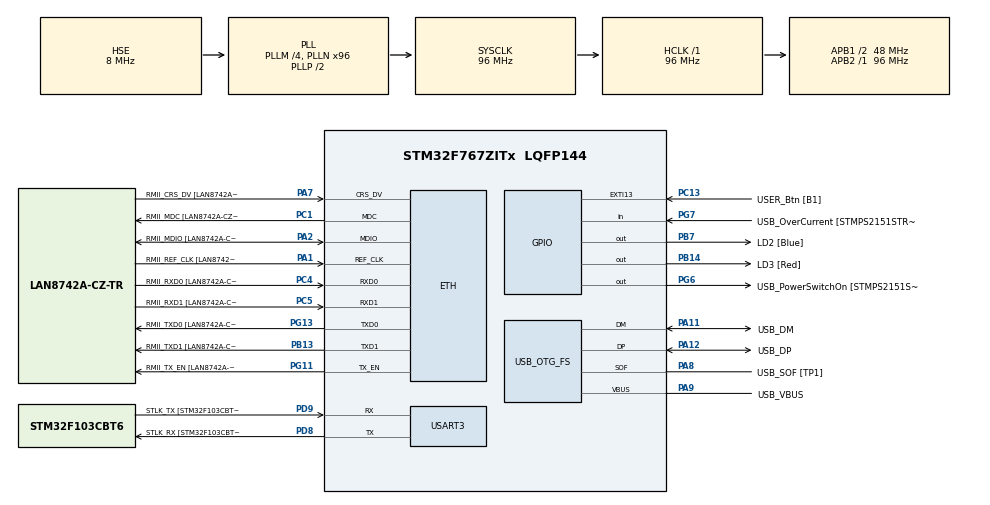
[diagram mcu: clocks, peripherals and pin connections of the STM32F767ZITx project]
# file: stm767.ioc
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ETH.MediaInterface=ETH_MEDIA_INTERFACE_RMII
ETH.PHY_Name=LAN8742A_PHY_ADDRESS
ETH.PHY_Value=0
ETH.PhyAddress=0
FREERTOS.Tasks01=defaultTask,0,128,StartDefaultTask,Default,NULL
FREERTOS.configTOTAL_HEAP_SIZE=30720
LWIP.GATEWAY_ADDRESS=192.168.160.001
LWIP.IP_ADDRESS=192.168.165.090
LWIP.LWIP_DHCP=1
LWIP.LWIP_DNS=1
LWIP.LWIP_NETIF_LINK_CALLBACK=0
LWIP.LWIP_NETIF_STATUS_CALLBACK=0
LWIP.LWIP_STATS=0
LWIP.LWIP_UDP=1
LWIP.NETMASK_ADDRESS=255.255.248.000
LWIP.Version=v2.0.3_Cube
Mcu.Family=STM32F7
Mcu.Name=STM32F767ZITx
Mcu.Package=LQFP144
NVIC.ETH_IRQn=true\:5\:0\:false\:false\:true\:true\:false\:true
NVIC.PriorityGroup=NVIC_PRIORITYGROUP_4
NVIC.TIM1_UP_TIM10_IRQn=true\:0\:0\:false\:false\:true\:false\:false\:true
NVIC.TimeBase=TIM1_UP_TIM10_IRQn
NVIC.TimeBaseIP=TIM1
PA1.GPIO_Label=RMII_REF_CLK [LAN8742A-CZ-TR_REFCLK0]
PA1.Mode=RMII
PA1.Signal=ETH_REF_CLK
PA10.GPIO_Label=USB_ID
PA10.Signal=USB_OTG_FS_ID
PA11.GPIO_Label=USB_DM
PA11.Mode=Device_Only
PA11.Signal=USB_OTG_FS_DM
PA12.GPIO_Label=USB_DP
PA12.Mode=Device_Only
PA12.Signal=USB_OTG_FS_DP
PA13.GPIO_Label=TMS
PA13.Mode=Serial_Wire
PA13.Signal=SYS_JTMS-SWDIO
PA14.GPIO_Label=TCK
PA14.Mode=Serial_Wire
PA14.Signal=SYS_JTCK-SWCLK
PA2.GPIO_Label=RMII_MDIO [LAN8742A-CZ-TR_MDIO]
PA2.Mode=RMII
PA2.Signal=ETH_MDIO
PA7.GPIO_Label=RMII_CRS_DV [LAN8742A-CZ-TR_CRS_DV]
PA7.Mode=RMII
PA7.Signal=ETH_CRS_DV
PA8.GPIO_Label=USB_SOF [TP1]
PA8.Mode=Activate_SOF_FS
PA8.Signal=USB_OTG_FS_SOF
PA9.GPIO_Label=USB_VBUS
PA9.Mode=Activate_VBUS
PA9.Signal=USB_OTG_FS_VBUS
PB13.GPIO_Label=RMII_TXD1 [LAN8742A-CZ-TR_TXD1]
PB13.Mode=RMII
PB13.Signal=ETH_TXD1
PB14.GPIO_Label=LD3 [Red]
PB14.Signal=GPIO_Output
PB3.GPIO_Label=SWO
PB3.Signal=SYS_JTDO-SWO
PB7.GPIO_Label=LD2 [Blue]
PB7.Signal=GPIO_Output
PC1.GPIO_Label=RMII_MDC [LAN8742A-CZ-TR_MDC]
PC1.Mode=RMII
PC1.Signal=ETH_MDC
PC13.GPIO_Label=USER_Btn [B1]
PC13.Signal=GPXTI13
PC14/OSC32_IN.Signal=RCC_OSC32_IN
PC15/OSC32_OUT.Signal=RCC_OSC32_OUT
PC4.GPIO_Label=RMII_RXD0 [LAN8742A-CZ-TR_RXD0]
PC4.Mode=RMII
PC4.Signal=ETH_RXD0
PC5.GPIO_Label=RMII_RXD1 [LAN8742A-CZ-TR_RXD1]
PC5.Mode=RMII
PC5.Signal=ETH_RXD1
PD8.GPIO_Label=STLK_RX [STM32F103CBT6_PA3]
PD8.Mode=Asynchronous
PD8.Signal=USART3_TX
PD9.GPIO_Label=STLK_TX [STM32F103CBT6_PA2]
PD9.Mode=Asynchronous
PD9.Signal=USART3_RX
PG11.GPIO_Label=RMII_TX_EN [LAN8742A-CZ-TR_TXEN]
PG11.Mode=RMII
PG11.Signal=ETH_TX_EN
PG13.GPIO_Label=RMII_TXD0 [LAN8742A-CZ-TR_TXD0]
PG13.Mode=RMII
PG13.Signal=ETH_TXD0
PG6.GPIO_Label=USB_PowerSwitchOn [STMPS2151STR_EN]
PG6.Signal=GPIO_Output
PG7.GPIO_Label=USB_OverCurrent [STMPS2151STR_FAULT]
PG7.Signal=GPIO_Input
PH0/OSC_IN.GPIO_Label=MCO [STM32F103CBT6_PA8]
PH0/OSC_IN.Mode=HSE-External-Oscillator
PH0/OSC_IN.Signal=RCC_OSC_IN
PH1/OSC_OUT.Mode=HSE-External-Oscillator
PH1/OSC_OUT.Signal=RCC_OSC_OUT
ProjectManager.HeapSize=0x200
ProjectManager.StackSize=0x400
ProjectManager.TargetToolchain=EWARM V8
RCC.48MHZClocksFreq_Value=24000000
RCC.AHBFreq_Value=96000000
RCC.APB1CLKDivider=RCC_HCLK_DIV2
RCC.APB1Freq_Value=48000000
RCC.APB1TimFreq_Value=96000000
RCC.APB2Freq_Value=96000000
RCC.APB2TimFreq_Value=96000000
RCC.CortexFreq_Value=96000000
RCC.HCLKFreq_Value=96000000
RCC.HSE_VALUE=8000000
RCC.HSI_VALUE=16000000
RCC.PLLM=4
RCC.PLLMUL=RCC_PLL_MUL9
RCC.PLLN=96
RCC.PLLQ=4
RCC.PRESCALERUSB=RCC_USBCLKSOURCE_PLL_DIV1_5
RCC.SYSCLKFreq_VALUE=96000000
RCC.SYSCLKSource=RCC_SYSCLKSOURCE_PLLCLK
RCC.SYSCLKSourceVirtual=RCC_SYSCLKSOURCE_PLLCLK
RCC.USBFreq_Value=48000000
RCC.VCOOutputFreq_Value=192000000
USART3.VirtualMode-Asynchronous=VM_ASYNC
USB_OTG_FS.VirtualMode=Device_Only
VP_FREERTOS_VS_CMSIS_V1.Mode=CMSIS_V1
VP_LWIP_VS_Enabled.Mode=Enabled
VP_SYS_VS_tim1.Mode=TIM1
board=NUCLEO-F767ZI

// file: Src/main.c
/* USER CODE BEGIN Header */
/**
  ******************************************************************************
  * @file           : main.c
  * @brief          : Main program body
  ******************************************************************************
  * @attention
  *
  * <h2><center>&copy; Copyright (c) 2019 STMicroelectronics.
  * All rights reserved.</center></h2>
  *
  * This software component is licensed by ST under Ultimate Liberty license
  * SLA0044, the "License"; You may not use this file except in compliance with
  * the License. You may obtain a copy of the License at:
  *                             www.st.com/SLA0044
  *
  ******************************************************************************
  */
/* USER CODE END Header */

#include "main.h"
#include "cmsis_os.h"
#include "lwip.h"

#include "uiot_export.h"
#include "uiot_import.h"

UART_HandleTypeDef huart3;

PCD_HandleTypeDef hpcd_USB_OTG_FS;

osThreadId defaultTaskHandle;

void SystemClock_Config(void);
static void MX_GPIO_Init(void);
static void MX_USART3_UART_Init(void);
static void MX_USB_OTG_FS_PCD_Init(void);
void StartDefaultTask(void const * argument);

/* USER CODE BEGIN PFP */

#define UIOT_MY_PRODUCT_SN            "nvtmx50n2j9nilik"

#define UIOT_MY_DEVICE_SN             "yjs2mfkbfuqf07hu"

#define UIOT_MY_DEVICE_SECRET         "wi9c195t7vo3xt1e"

#define MAX_SIZE_OF_TOPIC_CONTENT     100

/* USER CODE END PFP */

/* USER CODE BEGIN 0 */
static int sg_count = 0;
static int sg_sub_packet_id = -1;

void event_handler(void *pClient, void *handle_context, MQTTEventMsg *msg) {
	MQTTMessage* mqtt_message = (MQTTMessage*)msg->msg;
	uintptr_t packet_id = (uintptr_t)msg->msg;

	switch(msg->event_type) {
		case MQTT_EVENT_UNDEF:
			HAL_Printf("undefined event occur.");
			break;

		case MQTT_EVENT_DISCONNECT:
			HAL_Printf("MQTT disconnect.");
			break;

		case MQTT_EVENT_RECONNECT:
			HAL_Printf("MQTT reconnect.");
			break;

		case MQTT_EVENT_PUBLISH_RECEIVED:
			HAL_Printf("topic message arrived but without any related handle: topic=%.*s, topic_msg=%.*s",
					  mqtt_message->topic_len,
					  mqtt_message->topic,
					  mqtt_message->payload_len,
					  mqtt_message->payload);
			break;
		case MQTT_EVENT_SUBSCRIBE_SUCCESS:
			HAL_Printf("subscribe success, packet-id=%u", (unsigned int)msg->msg);
			sg_sub_packet_id = packet_id;
			break;

		case MQTT_EVENT_SUBSCRIBE_TIMEOUT:
			HAL_Printf("subscribe wait ack timeout, packet-id=%u", (unsigned int)packet_id);
			sg_sub_packet_id = packet_id;
			break;

		case MQTT_EVENT_SUBSCRIBE_NACK:
			HAL_Printf("subscribe nack, packet-id=%u", (unsigned int)packet_id);
			sg_sub_packet_id = packet_id;
			break;

		case MQTT_EVENT_UNSUBSCRIBE_SUCCESS:
			HAL_Printf("unsubscribe success, packet-id=%u", (unsigned int)packet_id);
			break;

		case MQTT_EVENT_UNSUBSCRIBE_TIMEOUT:
			HAL_Printf("unsubscribe timeout, packet-id=%u", (unsigned int)packet_id);
			break;

		case MQTT_EVENT_UNSUBSCRIBE_NACK:
			HAL_Printf("unsubscribe nack, packet-id=%u", (unsigned int)packet_id);
			break;

		case MQTT_EVENT_PUBLISH_SUCCESS:
			HAL_Printf("publish success1, packet-id=%u", (unsigned int)msg->msg);
			break;

		case MQTT_EVENT_PUBLISH_TIMEOUT:
			HAL_Printf("publish timeout, packet-id=%u", (unsigned int)packet_id);
			break;

		case MQTT_EVENT_PUBLISH_NACK:
			HAL_Printf("publish nack, packet-id=%u", (unsigned int)packet_id);
			break;
		default:
			HAL_Printf("Should NOT arrive here.");
			break;
	}
}

static void on_message_callback(void *pClient, MQTTMessage *message, void *userData) {
	if (message == NULL) {
		return;
	}

	HAL_Printf("Receive Message With topicName:%.*s, payload:%.*s\n",
		  (int) message->topic_len, message->topic, (int) message->payload_len, (char *) message->payload);
}

static int _setup_connect_init_params(MQTTInitParams* initParams)
{
	initParams->device_sn = UIOT_MY_DEVICE_SN;
	initParams->product_sn = UIOT_MY_PRODUCT_SN;
	initParams->device_secret = UIOT_MY_DEVICE_SECRET;

	initParams->command_timeout = UIOT_MQTT_COMMAND_TIMEOUT;
	initParams->keep_alive_interval = UIOT_MQTT_KEEP_ALIVE_INTERNAL;

	initParams->auto_connect_enable = 1;
	initParams->event_handler.h_fp = event_handler;
	initParams->event_handler.context = NULL;

    return SUCCESS_RET;
}

static int _publish_msg(void *client)
{
    char topicName[128] = {0};
    HAL_Snprintf(topicName, 128, "/%s/%s/%s", UIOT_MY_PRODUCT_SN, UIOT_MY_DEVICE_SN, "set");

    PublishParams pub_params = DEFAULT_PUB_PARAMS;
    pub_params.qos = QOS1;

    char topic_content[MAX_SIZE_OF_TOPIC_CONTENT + 1] = {0};

	int size = HAL_Snprintf(topic_content, sizeof(topic_content), "{\"test\": \"%d\"}", sg_count++);
	if (size < 0 || size > sizeof(topic_content) - 1)
	{
		HAL_Printf("payload content length not enough! content size:%d  buf size:%d", size, (int)sizeof(topic_content));
		return -3;
	}

	pub_params.payload = topic_content;
	pub_params.payload_len = strlen(topic_content);

    return IOT_MQTT_Publish(client, topicName, &pub_params);
}

static int _register_subscribe_topics(void *client)
{
    static char topic_name[128] = {0};
    int size = HAL_Snprintf(topic_name, sizeof(topic_name), "/%s/%s/%s", UIOT_MY_PRODUCT_SN, UIOT_MY_DEVICE_SN, "set");
    if (size < 0 || size > sizeof(topic_name) - 1)
    {
        HAL_Printf("topic content length not enough! content size:%d  buf size:%d", size, (int)sizeof(topic_name));
        return FAILURE_RET;
    }
    SubscribeParams sub_params = DEFAULT_SUB_PARAMS;
    sub_params.on_message_handler = on_message_callback;
    return IOT_MQTT_Subscribe(client, topic_name, &sub_params);
}

void MQTT_Task( void *pvParameters )
{
  osDelay(6000);
  MQTTInitParams init_params = DEFAULT_MQTT_INIT_PARAMS;
  _setup_connect_init_params(&init_params);
  void *client = IOT_MQTT_Construct(&init_params);

  //register subscribe topics here
  _register_subscribe_topics(client);

  IOT_MQTT_Yield(client, 200);
  for(;;)
  {
    _publish_msg(client);

    IOT_MQTT_Yield(client, 200);
    osDelay(100);
  }

}

/* USER CODE END 0 */

int main(void)
{

  /* MCU Configuration--------------------------------------------------------*/

  /* Reset of all peripherals, Initializes the Flash interface and the Systick. */
  HAL_Init();

  /* Configure the system clock */
  SystemClock_Config();

  /* Initialize all configured peripherals */
  MX_GPIO_Init();
  MX_USART3_UART_Init();
  MX_USB_OTG_FS_PCD_Init();

  /* Create the thread(s) */
  /* definition and creation of defaultTask */
  osThreadDef(defaultTask, StartDefaultTask, osPriorityNormal, 0, 128);
  defaultTaskHandle = osThreadCreate(osThread(defaultTask), NULL);

  xTaskCreate( MQTT_Task, "MQTT_Task", 2000, NULL, 1, NULL );

  /* Start scheduler */
  osKernelStart();

  /* We should never get here as control is now taken by the scheduler */

  /* Infinite loop */
  while (1)
  {

  }
}

void SystemClock_Config(void)
{
  RCC_OscInitTypeDef RCC_OscInitStruct = {0};
  RCC_ClkInitTypeDef RCC_ClkInitStruct = {0};
  RCC_PeriphCLKInitTypeDef PeriphClkInitStruct = {0};

  /** Configure the main internal regulator output voltage
  */
  __HAL_RCC_PWR_CLK_ENABLE();
  __HAL_PWR_VOLTAGESCALING_CONFIG(PWR_REGULATOR_VOLTAGE_SCALE3);
  /** Initializes the CPU, AHB and APB busses clocks
  */
  RCC_OscInitStruct.OscillatorType = RCC_OSCILLATORTYPE_HSE;
  RCC_OscInitStruct.HSEState = RCC_HSE_ON;
  RCC_OscInitStruct.PLL.PLLState = RCC_PLL_ON;
  RCC_OscInitStruct.PLL.PLLSource = RCC_PLLSOURCE_HSE;
  RCC_OscInitStruct.PLL.PLLM = 4;
  RCC_OscInitStruct.PLL.PLLN = 96;
  RCC_OscInitStruct.PLL.PLLP = RCC_PLLP_DIV2;
  RCC_OscInitStruct.PLL.PLLQ = 4;
  if (HAL_RCC_OscConfig(&RCC_OscInitStruct) != HAL_OK)
  {
    Error_Handler();
  }
  /** Activate the Over-Drive mode
  */
  if (HAL_PWREx_EnableOverDrive() != HAL_OK)
  {
    Error_Handler();
  }
  /** Initializes the CPU, AHB and APB busses clocks
  */
  RCC_ClkInitStruct.ClockType = RCC_CLOCKTYPE_HCLK|RCC_CLOCKTYPE_SYSCLK
                              |RCC_CLOCKTYPE_PCLK1|RCC_CLOCKTYPE_PCLK2;
  RCC_ClkInitStruct.SYSCLKSource = RCC_SYSCLKSOURCE_PLLCLK;
  RCC_ClkInitStruct.AHBCLKDivider = RCC_SYSCLK_DIV1;
  RCC_ClkInitStruct.APB1CLKDivider = RCC_HCLK_DIV2;
  RCC_ClkInitStruct.APB2CLKDivider = RCC_HCLK_DIV1;

  if (HAL_RCC_ClockConfig(&RCC_ClkInitStruct, FLASH_LATENCY_3) != HAL_OK)
  {
    Error_Handler();
  }
  PeriphClkInitStruct.PeriphClockSelection = RCC_PERIPHCLK_USART3|RCC_PERIPHCLK_CLK48;
  PeriphClkInitStruct.Usart3ClockSelection = RCC_USART3CLKSOURCE_PCLK1;
  PeriphClkInitStruct.Clk48ClockSelection = RCC_CLK48SOURCE_PLL;
  if (HAL_RCCEx_PeriphCLKConfig(&PeriphClkInitStruct) != HAL_OK)
  {
    Error_Handler();
  }
}

static void MX_USART3_UART_Init(void)
{

  huart3.Instance = USART3;
  huart3.Init.BaudRate = 115200;
  huart3.Init.WordLength = UART_WORDLENGTH_8B;
  huart3.Init.StopBits = UART_STOPBITS_1;
  huart3.Init.Parity = UART_PARITY_NONE;
  huart3.Init.Mode = UART_MODE_TX_RX;
  huart3.Init.HwFlowCtl = UART_HWCONTROL_NONE;
  huart3.Init.OverSampling = UART_OVERSAMPLING_16;
  huart3.Init.OneBitSampling = UART_ONE_BIT_SAMPLE_DISABLE;
  huart3.AdvancedInit.AdvFeatureInit = UART_ADVFEATURE_NO_INIT;
  if (HAL_UART_Init(&huart3) != HAL_OK)
  {
    Error_Handler();
  }

}

static void MX_USB_OTG_FS_PCD_Init(void)
{

  hpcd_USB_OTG_FS.Instance = USB_OTG_FS;
  hpcd_USB_OTG_FS.Init.dev_endpoints = 6;
  hpcd_USB_OTG_FS.Init.speed = PCD_SPEED_FULL;
  hpcd_USB_OTG_FS.Init.dma_enable = DISABLE;
  hpcd_USB_OTG_FS.Init.phy_itface = PCD_PHY_EMBEDDED;
  hpcd_USB_OTG_FS.Init.Sof_enable = ENABLE;
  hpcd_USB_OTG_FS.Init.low_power_enable = DISABLE;
  hpcd_USB_OTG_FS.Init.lpm_enable = DISABLE;
  hpcd_USB_OTG_FS.Init.vbus_sensing_enable = ENABLE;
  hpcd_USB_OTG_FS.Init.use_dedicated_ep1 = DISABLE;
  if (HAL_PCD_Init(&hpcd_USB_OTG_FS) != HAL_OK)
  {
    Error_Handler();
  }

}

static void MX_GPIO_Init(void)
{
  GPIO_InitTypeDef GPIO_InitStruct = {0};

  /* GPIO Ports Clock Enable */
  __HAL_RCC_GPIOC_CLK_ENABLE();
  __HAL_RCC_GPIOH_CLK_ENABLE();
  __HAL_RCC_GPIOA_CLK_ENABLE();
  __HAL_RCC_GPIOB_CLK_ENABLE();
  __HAL_RCC_GPIOD_CLK_ENABLE();
  __HAL_RCC_GPIOG_CLK_ENABLE();

  /*Configure GPIO pin Output Level */
  HAL_GPIO_WritePin(GPIOB, LD3_Pin|LD2_Pin, GPIO_PIN_RESET);

  /*Configure GPIO pin Output Level */
  HAL_GPIO_WritePin(USB_PowerSwitchOn_GPIO_Port, USB_PowerSwitchOn_Pin, GPIO_PIN_RESET);

  /*Configure GPIO pin : USER_Btn_Pin */
  GPIO_InitStruct.Pin = USER_Btn_Pin;
  GPIO_InitStruct.Mode = GPIO_MODE_IT_RISING;
  GPIO_InitStruct.Pull = GPIO_NOPULL;
  HAL_GPIO_Init(USER_Btn_GPIO_Port, &GPIO_InitStruct);

  /*Configure GPIO pins : LD3_Pin LD2_Pin */
  GPIO_InitStruct.Pin = LD3_Pin|LD2_Pin;
  GPIO_InitStruct.Mode = GPIO_MODE_OUTPUT_PP;
  GPIO_InitStruct.Pull = GPIO_NOPULL;
  GPIO_InitStruct.Speed = GPIO_SPEED_FREQ_LOW;
  HAL_GPIO_Init(GPIOB, &GPIO_InitStruct);

  /*Configure GPIO pin : USB_PowerSwitchOn_Pin */
  GPIO_InitStruct.Pin = USB_PowerSwitchOn_Pin;
  GPIO_InitStruct.Mode = GPIO_MODE_OUTPUT_PP;
  GPIO_InitStruct.Pull = GPIO_NOPULL;
  GPIO_InitStruct.Speed = GPIO_SPEED_FREQ_LOW;
  HAL_GPIO_Init(USB_PowerSwitchOn_GPIO_Port, &GPIO_InitStruct);

  /*Configure GPIO pin : USB_OverCurrent_Pin */
  GPIO_InitStruct.Pin = USB_OverCurrent_Pin;
  GPIO_InitStruct.Mode = GPIO_MODE_INPUT;
  GPIO_InitStruct.Pull = GPIO_NOPULL;
  HAL_GPIO_Init(USB_OverCurrent_GPIO_Port, &GPIO_InitStruct);

}

void StartDefaultTask(void const * argument)
{

  /* init code for LWIP */
  MX_LWIP_Init();

  /* USER CODE BEGIN 5 */
  /* Infinite loop */
  for(;;)
  {
    osDelay(1000);
  }
  /* USER CODE END 5 */
}

void HAL_TIM_PeriodElapsedCallback(TIM_HandleTypeDef *htim)
{
  if (htim->Instance == TIM1) {
    HAL_IncTick();
  }
}

void Error_Handler(void)
{
}

/************************ (C) COPYRIGHT STMicroelectronics *****END OF FILE****/
